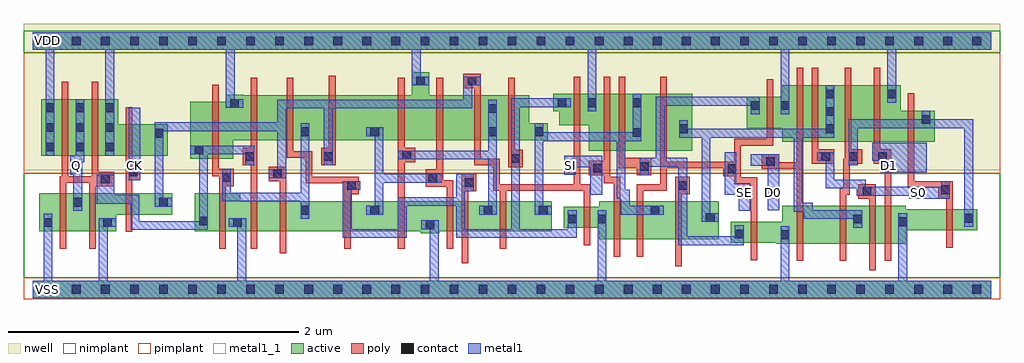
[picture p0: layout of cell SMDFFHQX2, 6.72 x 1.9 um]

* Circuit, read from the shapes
.subckt SMDFFHQX2 CK D0 D1 Q S0 SE SI VDD VSS
M1 Q n1 VSS VSS nfet w=0.26u l=0.045u m=2
M2 n2 CK VSS VSS nfet w=0.145u l=0.045u
M3 VSS n3 n1 VSS nfet w=0.26u l=0.045u
M4 n4 n1 VSS VSS nfet w=0.205u l=0.045u
M5 n3 n2 n4 VSS nfet w=0.205u l=0.045u
M6 n5 n6 n3 VSS nfet w=0.205u l=0.045u
M7 VSS n7 n5 VSS nfet w=0.205u l=0.045u
M8 n8 n5 VSS VSS nfet w=0.205u l=0.045u
M9 n7 n6 n8 VSS nfet w=0.205u l=0.045u
M10 n9 n2 n7 VSS nfet w=0.205u l=0.045u
M11 VSS n2 n6 VSS nfet w=0.145u l=0.045u
M12 n10 SI VSS VSS nfet w=0.26u l=0.045u
M13 n9 SE n10 VSS nfet w=0.26u l=0.045u
M14 n11 n12 n9 VSS nfet w=0.26u l=0.045u
M15 VSS SE n12 VSS nfet w=0.145u l=0.045u
M16 n13 D0 VSS VSS nfet w=0.26u l=0.045u
M17 n11 n14 n13 VSS nfet w=0.26u l=0.045u
M18 n15 S0 n11 VSS nfet w=0.26u l=0.045u
M19 VSS D1 n15 VSS nfet w=0.26u l=0.045u
M20 n14 S0 VSS VSS nfet w=0.145u l=0.045u
M21 Q n1 VDD VDD pfet w=0.39u l=0.045u m=2
M22 n2 CK VDD VDD pfet w=0.215u l=0.045u
M23 VDD n3 n1 VDD pfet w=0.39u l=0.045u
M24 n16 n1 VDD VDD pfet w=0.31u l=0.045u
M25 n3 n6 n16 VDD pfet w=0.31u l=0.045u
M26 n5 n2 n3 VDD pfet w=0.31u l=0.045u
M27 VDD n7 n5 VDD pfet w=0.31u l=0.045u
M28 n17 n5 VDD VDD pfet w=0.31u l=0.045u
M29 n7 n2 n17 VDD pfet w=0.31u l=0.045u
M30 n9 n6 n7 VDD pfet w=0.31u l=0.045u
M31 VDD n2 n6 VDD pfet w=0.215u l=0.045u
M32 n18 SI VDD VDD pfet w=0.39u l=0.045u
M33 n9 n12 n18 VDD pfet w=0.39u l=0.045u
M34 n11 SE n9 VDD pfet w=0.39u l=0.045u
M35 VDD SE n12 VDD pfet w=0.215u l=0.045u
M36 n19 D0 VDD VDD pfet w=0.39u l=0.045u
M37 n11 S0 n19 VDD pfet w=0.39u l=0.045u
M38 n20 n14 n11 VDD pfet w=0.39u l=0.045u
M39 VDD D1 n20 VDD pfet w=0.39u l=0.045u
M40 n14 S0 VDD VDD pfet w=0.215u l=0.045u
.ends

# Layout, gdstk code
import gdstk
lib = gdstk.Library(unit=1e-6, precision=5e-10)
def R(c, l, rs):  # rectangles x0, y0, x1, y1
    for r in rs: c.add(gdstk.rectangle(r[:2], r[2:], *l))
def A(c, l, x, y, w, h, nx, ny, dx, dy):  # array of equal rectangles
    R(c, l, [(x+i*dx, y+j*dy, x+i*dx+w, y+j*dy+h) for i in range(nx) for j in range(ny)])
def P(c, l, *ps):  # polygons
    for p in ps: c.add(gdstk.Polygon(p, *l))
active = (1, 0)
nwell = (2, 0)
poly = (3, 0)
nimplant = (4, 0)
pimplant = (5, 0)
contact = (6, 0)
metal1 = (7, 0)
metal1_1 = (7, 1)

smdffhqx2 = lib.new_cell('SMDFFHQX2')
R(smdffhqx2, active, [(0,-0.06,6.6,0.06), (0,1.65,6.6,1.77)])
P(smdffhqx2, active, [(0.06,1.31),(0.59,1.31),(0.59,1.135),(0.93,1.135),(0.93,0.92),(0.06,0.92)],
  [(1.33,1.34),(1.45,1.34),(1.45,1.335),(2.61,1.335),(2.61,1.495),(2.73,1.495),(2.73,1.335),(3.42,1.335),(3.42,1.145),(3.545,1.145),(3.545,1.025),(1.38,1.025),(1.38,0.9),(1.085,0.9),(1.085,1.29),(1.33,1.29)],
  [(3.585,1.345),(4.54,1.345),(4.54,0.955),(3.83,0.955),(3.83,1.13),(3.625,1.13),(3.625,1.225),(3.585,1.225)],
  [(5.16,1.405),(5.975,1.405),(5.975,1.23),(6.21,1.23),(6.21,1.015),(5.16,1.015),(5.16,1.11),(4.915,1.11),(4.915,1.325),(5.16,1.325)],
  [(0.045,0.66),(0.96,0.66),(0.96,0.515),(0.575,0.515),(0.575,0.4),(0.045,0.4)],
  [(1.115,0.66),(1.43,0.66),(1.43,0.605),(3.575,0.605),(3.575,0.4),(2.8,0.4),(2.8,0.385),(2.67,0.385),(2.67,0.4),(1.115,0.4)],
  [(3.9,0.605),(4.725,0.605),(4.725,0.345),(3.9,0.345),(3.9,0.425),(3.655,0.425),(3.655,0.57),(3.9,0.57)],
  [(5.16,0.575),(6.01,0.575),(6.01,0.55),(6.505,0.55),(6.505,0.405),(6.01,0.405),(6.01,0.315),(5.12,0.315),(5.12,0.32),(4.805,0.32),(4.805,0.465),(5.16,0.465)])
R(smdffhqx2, nwell, [(-0.06,0.82,6.66,1.83)])
P(smdffhqx2, poly, [(0.2,1.43),(0.245,1.43),(0.245,0.78),(0.405,0.78),(0.405,1.43),(0.45,1.43),(0.45,0.81),(0.56,0.81),(0.56,0.71),(0.435,0.71),(0.435,0.28),(0.39,0.28),(0.39,0.735),(0.23,0.735),(0.23,0.28),(0.185,0.28),(0.185,0.78),(0.2,0.78)],
  [(2.965,1.485),(3.085,1.485),(3.085,0.9),(3.215,0.9),(3.215,0.725),(3.725,0.725),(3.725,1.465),(3.77,1.465),(3.77,0.725),(3.84,0.725),(3.84,0.305),(3.795,0.305),(3.795,0.68),(3.26,0.68),(3.26,0.28),(3.215,0.28),(3.215,0.68),(3.17,0.68),(3.17,0.855),(3.04,0.855),(3.04,1.385),(2.965,1.385)],
  [(0.64,1.255),(0.685,1.255),(0.685,0.87),(0.74,0.87),(0.74,0.75),(0.685,0.75),(0.685,0.395),(0.64,0.395)],
  [(1.235,1.41),(1.28,1.41),(1.28,0.83),(1.385,0.83),(1.385,0.71),(1.33,0.71),(1.33,0.28),(1.285,0.28),(1.285,0.78),(1.235,0.78)],
  [(1.5,1.455),(1.545,1.455),(1.545,0.28),(1.5,0.28),(1.5,0.855),(1.445,0.855),(1.445,0.975),(1.5,0.975)],
  [(1.75,1.455),(1.795,1.455),(1.795,0.95),(1.925,0.95),(1.925,0.775),(2.245,0.775),(2.245,0.655),(2.19,0.655),(2.19,0.28),(2.145,0.28),(2.145,0.73),(1.88,0.73),(1.88,0.905),(1.75,0.905)],
  [(2.04,1.47),(2.085,1.47),(2.085,0.855),(1.985,0.855),(1.985,0.975),(2.04,0.975)],
  [(2.515,1.455),(2.56,1.455),(2.56,0.975),(2.635,0.975),(2.635,0.875),(2.56,0.875),(2.56,0.28),(2.515,0.28)],
  [(2.78,1.455),(2.825,1.455),(2.825,0.75),(2.895,0.75),(2.895,0.28),(2.85,0.28),(2.85,0.705),(2.705,0.705),(2.705,0.825),(2.78,0.825)],
  [(3.93,1.465),(3.975,1.465),(3.975,0.775),(4.045,0.775),(4.045,0.225),(4,0.225),(4,0.73),(3.93,0.73),(3.93,0.785),(3.83,0.785),(3.83,0.885),(3.93,0.885)],
  [(4.035,1.465),(4.08,1.465),(4.08,0.905),(4.26,0.905),(4.26,0.785),(4.16,0.785),(4.16,0.835),(4.035,0.835)],
  [(4.32,1.465),(4.365,1.465),(4.365,0.88),(4.83,0.88),(4.83,1.035),(5.055,1.035),(5.055,1.445),(5.1,1.445),(5.1,0.99),(4.875,0.99),(4.875,0.77),(4.99,0.77),(4.99,0.2),(4.945,0.2),(4.945,0.725),(4.83,0.725),(4.83,0.78),(4.755,0.78),(4.755,0.835),(4.365,0.835),(4.365,0.68),(4.205,0.68),(4.205,0.225),(4.16,0.225),(4.16,0.725),(4.32,0.725)],
  [(3.275,1.455),(3.32,1.455),(3.32,0.96),(3.375,0.96),(3.375,0.84),(3.275,0.84)],
  [(5.02,0.93),(5.14,0.93),(5.14,0.875),(5.26,0.875),(5.26,1.525),(5.305,1.525),(5.305,0.195),(5.26,0.195),(5.26,0.83),(5.02,0.83)],
  [(5.365,1.525),(5.41,1.525),(5.41,0.965),(5.52,0.965),(5.52,0.865),(5.365,0.865)],
  [(5.59,1.525),(5.635,1.525),(5.635,0.965),(5.71,0.965),(5.71,0.865),(5.625,0.865),(5.625,0.65),(5.6,0.65),(5.6,0.195),(5.555,0.195),(5.555,0.695),(5.58,0.695),(5.58,0.9),(5.59,0.9)],
  [(5.79,1.525),(5.835,1.525),(5.835,0.965),(5.91,0.965),(5.91,0.195),(5.865,0.195),(5.865,0.865),(5.79,0.865)],
  [(6.025,1.35),(6.07,1.35),(6.07,0.745),(6.335,0.745),(6.335,0.285),(6.29,0.285),(6.29,0.625),(6.235,0.625),(6.235,0.7),(6.025,0.7)],
  [(4.425,0.775),(4.525,0.775),(4.525,0.655),(4.47,0.655),(4.47,0.16),(4.425,0.16)],
  [(1.625,0.845),(1.745,0.845),(1.745,0.25),(1.7,0.25),(1.7,0.745),(1.625,0.745)],
  [(2.955,0.795),(3.055,0.795),(3.055,0.675),(3,0.675),(3,0.18),(2.955,0.18)],
  [(5.685,0.725),(5.805,0.725),(5.805,0.13),(5.76,0.13),(5.76,0.625),(5.685,0.625)])
R(smdffhqx2, nimplant, [(-0.06,0.08,6.66,0.8), (-0.06,1.63,6.66,1.78)])
R(smdffhqx2, pimplant, [(-0.06,-0.07,6.66,0.08), (-0.06,0.8,6.66,1.63)])
A(smdffhqx2, contact, 0.07, -0.03, 0.06, 0.06, 33, 2, 0.2, 1.71)
A(smdffhqx2, contact, 0.09, 0.95, 0.06, 0.06, 3, 3, 0.205, 0.135)
A(smdffhqx2, contact, 5.46, 1.075, 0.06, 0.06, 1, 3, 0, 0.12)
R(smdffhqx2, contact, [(5.15,0.345,5.21,0.405), (4.835,0.35,4.895,0.41), (2.705,0.415,2.765,0.475), (0.075,0.43,0.135,0.49), (0.485,0.43,0.545,0.49), (1.38,0.43,1.44,0.49), (5.96,0.435,6.02,0.495), (1.145,0.44,1.205,0.5), (3.685,0.455,3.745,0.515), (3.89,0.455,3.95,0.515), (5.65,0.455,5.71,0.515), (6.415,0.46,6.475,0.52), (4.635,0.465,4.695,0.525), (1.845,0.515,1.905,0.575), (2.325,0.515,2.385,0.575), (3.105,0.515,3.165,0.575), (3.485,0.515,3.545,0.575), (4.255,0.515,4.315,0.575), (0.28,0.57,0.34,0.63), (0.87,0.57,0.93,0.63), (5.715,0.645,5.775,0.705), (6.255,0.655,6.315,0.715), (2.165,0.685,2.225,0.745), (4.445,0.685,4.505,0.745), (2.975,0.705,3.035,0.765), (0.47,0.73,0.53,0.79), (2.725,0.735,2.785,0.795), (1.305,0.74,1.365,0.8), (1.655,0.765,1.715,0.825), (0.66,0.78,0.72,0.84), (4.785,0.8,4.845,0.86), (3.86,0.805,3.92,0.865), (4.18,0.815,4.24,0.875), (5.05,0.85,5.11,0.91), (3.295,0.87,3.355,0.93), (1.465,0.885,1.525,0.945), (2.005,0.885,2.065,0.945), (5.43,0.885,5.49,0.945), (5.62,0.885,5.68,0.945), (5.82,0.885,5.88,0.945), (2.545,0.895,2.605,0.955), (1.115,0.93,1.175,0.99), (0.84,1.045,0.9,1.105), (4.13,1.05,4.19,1.11), (1.845,1.055,1.905,1.115), (2.325,1.055,2.385,1.115), (3.135,1.055,3.195,1.115), (3.455,1.055,3.515,1.115), (4.45,1.075,4.51,1.135), (6.12,1.14,6.18,1.2), (3.135,1.215,3.195,1.275), (4.945,1.235,5.005,1.295), (5.15,1.235,5.21,1.295), (1.36,1.25,1.42,1.31), (3.615,1.255,3.675,1.315), (3.82,1.255,3.88,1.315), (4.13,1.255,4.19,1.315), (5.885,1.315,5.945,1.375), (2.64,1.405,2.7,1.465), (2.995,1.405,3.055,1.465)])
R(smdffhqx2, metal1, [(0.66,0.75,0.74,1.25)])
P(smdffhqx2, metal1, [(0,1.77),(6.6,1.77),(6.6,1.65),(5.945,1.65),(5.945,1.285),(5.885,1.285),(5.885,1.65),(5.21,1.65),(5.21,1.205),(5.15,1.205),(5.15,1.65),(3.88,1.65),(3.88,1.225),(3.82,1.225),(3.82,1.65),(2.67,1.65),(2.67,1.465),(2.73,1.465),(2.73,1.405),(2.61,1.405),(2.61,1.65),(1.39,1.65),(1.39,1.31),(1.45,1.31),(1.45,1.25),(1.33,1.25),(1.33,1.65),(0.56,1.65),(0.56,0.92),(0.5,0.92),(0.5,1.65),(0.15,1.65),(0.15,0.92),(0.09,0.92),(0.09,1.65),(0,1.65)],
  [(0.295,1.31),(0.355,1.31),(0.355,0.875),(0.34,0.875),(0.34,0.54),(0.28,0.54),(0.28,0.79),(0.26,0.79),(0.26,0.92),(0.295,0.92)],
  [(2.965,1.465),(3.085,1.465),(3.085,1.405),(3.025,1.405),(3.025,1.245),(2.065,1.245),(2.065,0.855),(2.005,0.855),(2.005,1.245),(1.745,1.245),(1.745,0.765),(1.625,0.765),(1.625,0.825),(1.685,0.825),(1.685,1.09),(0.9,1.09),(0.9,0.63),(0.96,0.63),(0.96,0.57),(0.84,0.57),(0.84,1.15),(1.685,1.15),(1.685,1.305),(2.965,1.305)],
  [(1.085,0.99),(1.525,0.99),(1.525,0.855),(1.465,0.855),(1.465,0.93),(1.205,0.93),(1.205,0.41),(0.675,0.41),(0.675,0.59),(0.44,0.59),(0.44,0.79),(0.56,0.79),(0.56,0.65),(0.735,0.65),(0.735,0.47),(1.145,0.47),(1.145,0.93),(1.085,0.93)],
  [(0.075,0.52),(0.135,0.52),(0.135,0.06),(0.455,0.06),(0.455,0.49),(0.575,0.49),(0.575,0.43),(0.515,0.43),(0.515,0.06),(1.41,0.06),(1.41,0.43),(1.35,0.43),(1.35,0.49),(1.47,0.49),(1.47,0.06),(2.735,0.06),(2.735,0.415),(2.675,0.415),(2.675,0.475),(2.795,0.475),(2.795,0.06),(3.89,0.06),(3.89,0.545),(3.95,0.545),(3.95,0.06),(5.15,0.06),(5.15,0.435),(5.21,0.435),(5.21,0.06),(5.96,0.06),(5.96,0.525),(6.02,0.525),(6.02,0.06),(6.6,0.06),(6.6,-0.06),(0,-0.06),(0,0.06),(0.075,0.06)],
  [(1.305,0.83),(1.365,0.83),(1.365,0.665),(1.845,0.665),(1.845,1.145),(1.905,1.145),(1.905,0.485),(1.845,0.485),(1.845,0.605),(1.305,0.605)],
  [(3.295,1.315),(3.705,1.315),(3.705,1.255),(3.355,1.255),(3.355,0.415),(3.685,0.415),(3.685,0.545),(3.745,0.545),(3.745,0.355),(2.915,0.355),(2.915,0.575),(2.575,0.575),(2.575,0.355),(2.135,0.355),(2.135,0.745),(2.255,0.745),(2.255,0.685),(2.195,0.685),(2.195,0.415),(2.515,0.415),(2.515,0.635),(2.915,0.635),(2.915,0.795),(3.035,0.795),(3.035,0.675),(2.975,0.675),(2.975,0.415),(3.295,0.415)],
  [(3.135,1.305),(3.195,1.305),(3.195,0.515),(3.075,0.515),(3.075,0.575),(3.135,0.575),(3.135,0.895),(2.515,0.895),(2.515,0.955),(3.135,0.955)],
  [(2.295,1.115),(2.415,1.115),(2.415,0.795),(2.815,0.795),(2.815,0.735),(2.415,0.735),(2.415,0.515),(2.295,0.515),(2.295,0.575),(2.355,0.575),(2.355,1.055),(2.295,1.055)],
  [(3.455,1.145),(3.515,1.145),(3.515,1.08),(4.13,1.08),(4.13,1.345),(4.19,1.345),(4.19,1.02),(4.08,1.02),(4.08,0.685),(4.11,0.685),(4.11,0.575),(4.345,0.575),(4.345,0.515),(4.05,0.515),(4.05,0.625),(4.02,0.625),(4.02,1.02),(3.515,1.02),(3.515,0.575),(3.575,0.575),(3.575,0.515),(3.455,0.515)],
  [(4.29,1.325),(5.005,1.325),(5.005,1.205),(4.945,1.205),(4.945,1.265),(4.35,1.265),(4.35,0.905),(4.505,0.905),(4.505,0.365),(4.835,0.365),(4.835,0.44),(4.895,0.44),(4.895,0.305),(4.445,0.305),(4.445,0.845),(4.24,0.845),(4.24,0.785),(4.18,0.785),(4.18,0.905),(4.29,0.905)],
  [(3.66,0.92),(3.92,0.92),(3.92,0.65),(3.84,0.65),(3.84,0.84),(3.74,0.84),(3.74,0.79),(3.66,0.79)],
  [(4.45,1.165),(4.51,1.165),(4.51,1.105),(5.46,1.105),(5.46,1.405),(5.52,1.405),(5.52,1.045),(5.3,1.045),(5.3,0.595),(5.37,0.595),(5.37,0.545),(5.71,0.545),(5.71,0.425),(5.65,0.425),(5.65,0.485),(5.31,0.485),(5.31,0.535),(5.24,0.535),(5.24,1.045),(4.665,1.045),(4.665,0.525),(4.725,0.525),(4.725,0.465),(4.605,0.465),(4.605,1.045),(4.45,1.045)],
  [(6.12,1.23),(6.18,1.23),(6.18,1.17),(6.475,1.17),(6.475,0.43),(6.415,0.43),(6.415,1.11),(5.68,1.11),(5.68,0.855),(5.62,0.855),(5.62,1.17),(6.12,1.17)],
  [(4.765,0.945),(4.845,0.945),(4.845,0.73),(4.94,0.73),(4.94,0.54),(4.86,0.54),(4.86,0.65),(4.765,0.65)],
  [(4.945,0.93),(5.14,0.93),(5.14,0.545),(5.06,0.545),(5.06,0.85),(4.945,0.85)],
  [(5.4,0.945),(5.52,0.945),(5.52,0.755),(5.735,0.755),(5.735,0.705),(6.255,0.705),(6.255,0.745),(6.315,0.745),(6.315,0.625),(6.035,0.625),(6.035,0.645),(5.675,0.645),(5.675,0.695),(5.46,0.695),(5.46,0.885),(5.4,0.885)],
  [(5.78,1.01),(6.155,1.01),(6.155,0.805),(5.835,0.805),(5.835,0.885),(5.78,0.885)])
R(smdffhqx2, metal1_1, [(0.06,-0.04,0.14,0.04), (4.86,0.625,4.94,0.705), (5.06,0.625,5.14,0.705), (6.06,0.625,6.14,0.705), (0.26,0.815,0.34,0.895), (0.66,0.815,0.74,0.895), (3.66,0.815,3.74,0.895), (5.86,0.815,5.94,0.895), (0.06,1.67,0.14,1.75)])
smdffhqx2.add(gdstk.Label('Q', (0.3,0.855), layer=7, texttype=1))
smdffhqx2.add(gdstk.Label('S0', (6.1,0.665), layer=7, texttype=1))
smdffhqx2.add(gdstk.Label('D1', (5.9,0.855), layer=7, texttype=1))
smdffhqx2.add(gdstk.Label('D0', (5.1,0.665), layer=7, texttype=1))
smdffhqx2.add(gdstk.Label('SE', (4.9,0.665), layer=7, texttype=1))
smdffhqx2.add(gdstk.Label('SI', (3.7,0.855), layer=7, texttype=1))
smdffhqx2.add(gdstk.Label('CK', (0.7,0.855), layer=7, texttype=1))
smdffhqx2.add(gdstk.Label('VDD', (0.1,1.71), layer=7, texttype=1))
smdffhqx2.add(gdstk.Label('VSS', (0.1,0), layer=7, texttype=1))
smdffhqx2.add(gdstk.Label('SMDFFHQX2', (0,0), layer=63, texttype=0))

lib.write_gds('SMDFFHQX2.gds')
